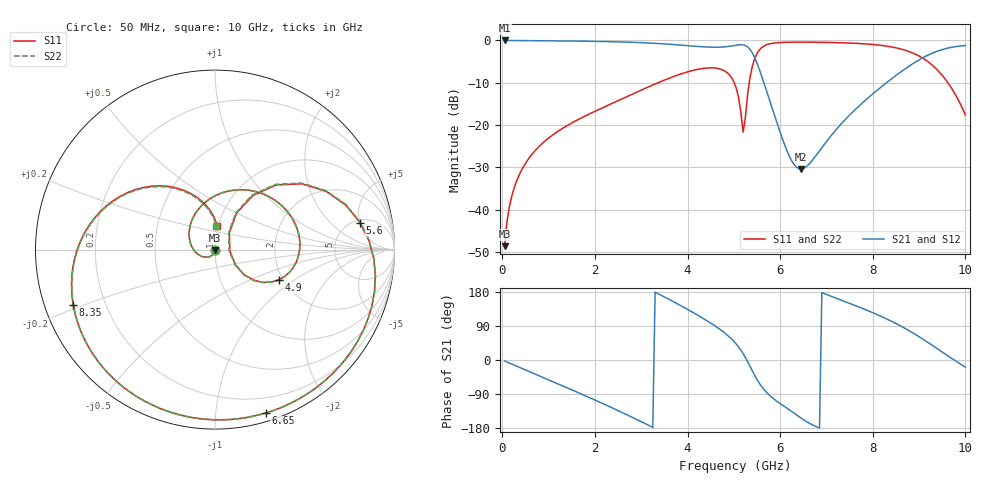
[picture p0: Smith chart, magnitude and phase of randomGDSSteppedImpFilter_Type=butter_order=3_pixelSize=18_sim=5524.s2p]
! freq	dB(S11)	phase(S11)	dB(S12)	phase(S12)
!  dB(S21)	phase(S21)	dB(S22)	phase(S22)
!S-par simulation data
#  GHz  S  DB  R 50
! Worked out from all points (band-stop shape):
!   200 points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, 50 MHz to 10 GHz, reference 50 ohm
!   highest |S21| = -0.01 dB at 50 MHz (marker M1); lowest = -30.4 dB at 6.45 GHz (marker M2)
!   |S21| within 3 dB of the highest: start of sweep to 5.402 GHz; 9.285 GHz to end of sweep
!   lowest |S11| = -48.6 dB at 50 MHz (marker M3), VSWR 1.01, Z = 50 - j0.372 ohm
!   |S11| at or under -10 dB: start of sweep to 3.362 GHz; 5.008 GHz to 5.333 GHz (324.4 MHz wide, 6.27 % of centre); 9.621 GHz to end of sweep
!   |S22| runs from -48.6 to -0.4 dB; largest |S21 - S12| = 0
!   S11 on the Smith chart (normalised r, x): 50 MHz: 1.00, -0.01; 4.9 GHz: 1.91, -0.76; 5.6 GHz: 5.49, +5.09; 6.65 GHz: 0.07, -1.35; 8.35 GHz: 0.09, -0.19; 10 GHz: 0.99, +0.26
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0.05  -48.59 -88.5  -0.01 -2.6  -0.01 -2.6  -48.59 -88.6
0.2  -36.96 -99.2  -0.02 -10.5  -0.02 -10.5  -36.96 -99.2
0.5  -29.04 -116.4  -0.04 -26.1  -0.04 -26.1  -29.04 -116.4
1.15  -21.85 -151.3  -0.10 -60.1  -0.10 -60.1  -21.85 -151.3
1.75  -18.07 176.4  -0.18 -92.0  -0.18 -92.0  -18.07 176.4
2.7  -13.22 123.3  -0.40 -145.1  -0.40 -145.1  -13.22 123.4
3.4  -9.83 81.4  -0.75 172.8  -0.75 172.8  -9.83 81.4
4.25  -6.76 25.7  -1.45 116.2  -1.45 116.2  -6.76 25.7
4.9  -8.08 -25.2  -1.39 61.2  -1.39 61.2  -8.09 -25.3
5.05  -11.19 -38.3  -1.14 42.4  -1.14 42.4  -11.21 -38.6
5.2  -21.66 -4.7  -1.06 16.9  -1.06 16.9  -21.98 -5.2
5.4  -6.10 46.6  -2.96 -28.8  -2.96 -28.8  -6.11 47.2
5.6  -1.69 10.5  -8.41 -69.9  -8.41 -69.9  -1.70 10.9
6  -0.50 -32.7  -21.72 -115.0  -21.72 -115.0  -0.49 -32.4
6.45  -0.41 -62.0  -30.38 -153.4  -30.38 -153.4  -0.41 -61.7
6.65  -0.42 -72.8  -28.89 -168.2  -28.89 -168.2  -0.41 -72.5
6.7  -0.42 -75.4  -28.25 -171.3  -28.25 -171.3  -0.42 -75.1
7.5  -0.62 -114.4  -17.62 149.5  -17.62 149.5  -0.62 -114.1
8.35  -1.43 -158.6  -9.54 105.4  -9.54 105.4  -1.43 -158.2
9.2  -5.10 143.0  -3.43 45.7  -3.43 45.7  -5.10 143.8
9.65  -10.44 108.1  -1.73 8.7  -1.73 8.7  -10.43 109.2
10  -17.62 84.8  -1.21 -18.9  -1.21 -18.9  -17.57 86.9
